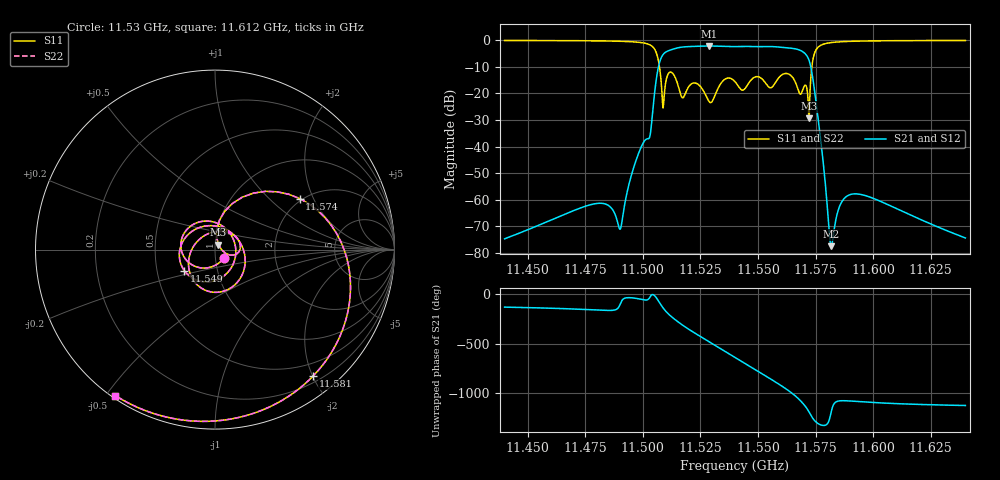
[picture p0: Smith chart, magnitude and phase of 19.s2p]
! This file was generated by CST Filter Designer 3D
! Date:  05.11.2025 19:48:46
# MHZ S RI R 50
!  Frequency  Re(S11)  Im(S11)  Re(S21)  Im(S21)  Re(S12)  Im(S12)  Re(S22)  Im(S22)
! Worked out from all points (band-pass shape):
!   1001 points, 11.44 GHz to 11.64 GHz, reference 50 ohm
!   highest |S21| = -2.14 dB at 11.529 GHz (marker M1); lowest = -77.5 dB at 11.582 GHz (marker M2)
!   |S21| within 3 dB of the highest: 11.509 GHz to 11.571 GHz (61.58 MHz wide, 0.534 % of centre)
!   lowest |S11| = -29.3 dB at 11.572 GHz (marker M3), VSWR 1.07, Z = 51.9 + j2.92 ohm
!   |S11| at or under -10 dB: 11.507 GHz to 11.573 GHz (66.13 MHz wide, 0.573 % of centre)
!   |S22| runs from -29.3 to -0.1 dB; largest |S21 - S12| = 0
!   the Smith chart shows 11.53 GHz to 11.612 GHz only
!   S11 on the Smith chart (normalised r, x): 11.53 GHz: 1.09, -0.11; 11.549 GHz: 0.69, -0.17; 11.574 GHz: 1.93, +1.58; 11.581 GHz: 0.29, -2.01; 11.612 GHz: 0.01, -0.53
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11440  -0.7882 0.6045  -0.000119 -0.000141  -0.000119 -0.000141  -0.7882 0.6045
11473.4  -0.5032 0.8438  -0.000632 -0.00033  -0.000632 -0.00033  -0.5032 0.8438
11490.4  -0.0546 0.9569  1.71e-05 -0.000293  1.71e-05 -0.000293  -0.0546 0.9569
11506.8  0.3094 -0.2628  0.1177 -0.2971  0.1177 -0.2971  0.3094 -0.2628
11510.6  0.0565 0.2057  -0.6164 0.0838  -0.6164 0.0838  0.0565 0.2057
11515.2  0.1274 -0.0705  0.1077 0.714  0.1077 0.714  0.1274 -0.0705
11521  -0.1043 0.1086  0.7503 -0.1482  0.7503 -0.1482  -0.1043 0.1086
11528.8  0.0692 -0.0101  -0.4235 -0.6565  -0.4235 -0.6565  0.0692 -0.0101
11529.8  0.0477 -0.0491  -0.572 -0.5314  -0.572 -0.5314  0.0477 -0.0491
11540  -0.0499 0.1591  0.1604 0.7467  0.1604 0.7467  -0.0499 0.1591
11549.4  -0.1708 -0.1174  0.4319 -0.6251  0.4319 -0.6251  -0.1708 -0.1174
11557.4  0.157 0.00295  -0.7422 -0.1486  -0.7422 -0.1486  0.157 0.00295
11563.6  -0.0728 -0.2164  -0.0635 0.7129  -0.0635 0.7129  -0.0728 -0.2164
11568.2  -0.059 0.078  0.6491 0.0439  0.6491 0.0439  -0.059 0.078
11572.2  0.0194 0.0281  -0.1933 -0.3656  -0.1933 -0.3656  0.0194 0.0281
11573.4  0.1523 0.2921  -0.2361 -0.0573  -0.2361 -0.0573  0.1523 0.2921
11574.4  0.4714 0.2846  -0.1166 0.0413  -0.1166 0.0413  0.4714 0.2846
11580.6  0.5477 -0.7032  -0.000291 0.000214  -0.000291 0.000214  0.5477 -0.7032
11581.8  0.4597 -0.782  -4.93e-05 -0.000125  -4.93e-05 -0.000125  0.4597 -0.782
11606.8  -0.4838 -0.8541  0.000703 -0.000369  0.000703 -0.000369  -0.4838 -0.8541
11611.6  -0.5555 -0.813  0.000538 -0.000341  0.000538 -0.000341  -0.5555 -0.813
11640  -0.7799 -0.6148  0.000123 -0.000146  0.000123 -0.000146  -0.7799 -0.6148
